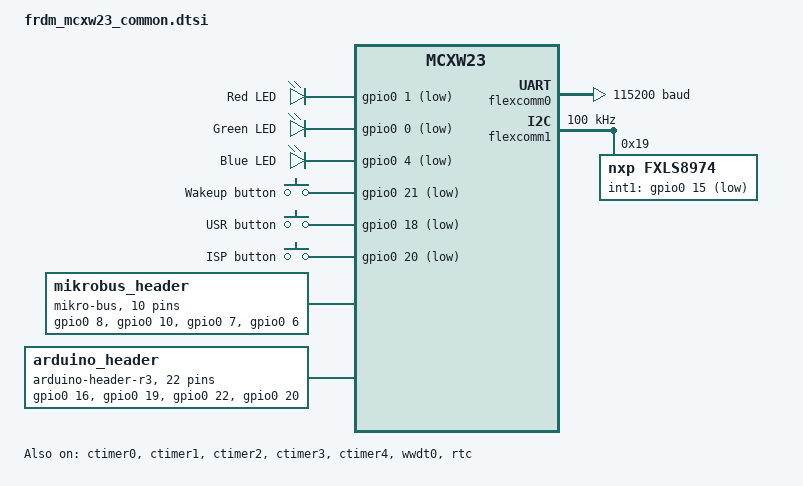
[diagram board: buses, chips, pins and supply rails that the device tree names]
/*
 * Copyright 2025 NXP
 *
 * SPDX-License-Identifier: Apache-2.0
 */

#include "frdm_mcxw23-pinctrl.dtsi"
#include <zephyr/dt-bindings/gpio/arduino-header-r3.h>
#include <zephyr/dt-bindings/input/input-event-codes.h>

/ {
	chosen {
		zephyr,sram = &sram0;
		zephyr,flash = &flash0;
		zephyr,code-partition = &slot0_partition;
		zephyr,uart-mcumgr = &flexcomm0;
		zephyr,console = &flexcomm0;
		zephyr,shell-uart = &flexcomm0;
		zephyr,flash-controller = &iap;
	};

	aliases{
		led0 = &red_led;
		led1 = &green_led;
		led2 = &blue_led;
		sw0 = &btn_wk;
		sw1 = &btn_usr;
		sw2 = &btn_isp;
		usart-0 = &flexcomm0;
		magn0 = &fxls8974;
		accel0 = &fxls8974;
		mcuboot-button0 = &btn_wk;
		watchdog0 = &wwdt0;
	};

	leds {
		compatible = "gpio-leds";

		red_led: led_0 {
			gpios = <&gpio0 1 1>;
			label = "Red LED";
		};

		green_led: led_1 {
			gpios = <&gpio0 0 1>;
			label = "Green LED";
		};

		blue_led: led_2 {
			gpios = <&gpio0 4 1>;
			label = "Blue LED";
		};
	};

	gpio_keys {
		compatible = "gpio-keys";

		btn_wk: button_0 {
			label = "Wakeup button";
			gpios = <&gpio0 21 GPIO_ACTIVE_LOW>;
			zephyr,code = <INPUT_KEY_WAKEUP>;
		};

		btn_usr: button_1 {
			label = "USR button";
			gpios = <&gpio0 18 GPIO_ACTIVE_LOW>;
			zephyr,code = <INPUT_KEY_0>;
		};

		btn_isp: button_2 {
			label = "ISP button";
			gpios = <&gpio0 20 GPIO_ACTIVE_LOW>;
			zephyr,code = <INPUT_KEY_1>;
		};
	};

	mikrobus_header: mikrobus-connector {
		compatible = "mikro-bus";
		#gpio-cells = <2>;
		gpio-map-mask = <0xffffffff 0xffffffc0>;
		gpio-map-pass-thru = <0 0x3f>;
		gpio-map = /* Not a GPIO*/	/* AN  */
				/* Not a GPIO*/		/* RST */
				<2 0 &gpio0 8 0>,	/* CS   */
				<3 0 &gpio0 10 0>,	/* SCK  */
				<4 0 &gpio0 7 0>,	/* MISO */
				<5 0 &gpio0 6 0>,	/* MOSI */
				<6 0 &gpio0 15 0>,	/* PWM  */
				<7 0 &gpio0 16 0>,	/* INT  */
				<8 0 &gpio0 3 0>,	/* RX   */
				<9 0 &gpio0 2 0>,	/* TX   */
				<10 0 &gpio0 14 0>,	/* SCL  */
				<11 0 &gpio0 13 0>;	/* SDA  */
	};

	arduino_header: arduino-connector {
		compatible = "arduino-header-r3";
		#gpio-cells = <2>;
		gpio-map-mask = <0xffffffff 0xffffffc0>;
		gpio-map-pass-thru = <0 0x3f>;
		gpio-map = <ARDUINO_HEADER_R3_A0 0 &gpio0 16 0>,
				<ARDUINO_HEADER_R3_A1 0 &gpio0 19 0>,
				<ARDUINO_HEADER_R3_A2 0 &gpio0 22 0>,
				<ARDUINO_HEADER_R3_A3 0 &gpio0 20 0>,
				<ARDUINO_HEADER_R3_A4 0 &gpio0 13 0>,
				<ARDUINO_HEADER_R3_A5 0 &gpio0 14 0>,
				<ARDUINO_HEADER_R3_D0 0 &gpio0 2 0>,
				<ARDUINO_HEADER_R3_D1 0 &gpio0 3 0>,
				<ARDUINO_HEADER_R3_D2 0 &gpio0 21 0>,
				<ARDUINO_HEADER_R3_D3 0 &gpio0 18 0>,
				<ARDUINO_HEADER_R3_D4 0 &gpio0 0 0>,
				<ARDUINO_HEADER_R3_D5 0 &gpio0 9 0>,
				<ARDUINO_HEADER_R3_D6 0 &gpio0 4 0>,
				<ARDUINO_HEADER_R3_D7 0 &gpio0 1 0>,
				<ARDUINO_HEADER_R3_D8 0 &gpio0 0 0>,	/* D8 is not connected */
				<ARDUINO_HEADER_R3_D9 0 &gpio0 15 0>,
				<ARDUINO_HEADER_R3_D10 0 &gpio0 8 0>,
				<ARDUINO_HEADER_R3_D11 0 &gpio0 6 0>,
				<ARDUINO_HEADER_R3_D12 0 &gpio0 7 0>,
				<ARDUINO_HEADER_R3_D13 0 &gpio0 10 0>,
				<ARDUINO_HEADER_R3_D14 0 &gpio0 13 0>,
				<ARDUINO_HEADER_R3_D15 0 &gpio0 14 0>;
	};
};

&flexcomm0 {
	status = "okay";
	compatible = "nxp,lpc-usart";
	current-speed = <115200>;
	pinctrl-0 = <&pinmux_flexcomm0_usart>;
	pinctrl-names = "default";
};

&flexcomm1 {
	status = "okay";
	compatible = "nxp,lpc-i2c";
	clock-frequency = <I2C_BITRATE_STANDARD>;
	#address-cells = <1>;
	#size-cells = <0>;
	pinctrl-0 = <&pinmux_flexcomm1_i2c>;
	pinctrl-names = "default";

	fxls8974: fxls8974@19 {
		compatible = "nxp,fxls8974";
		reg = <0x19>;
		status = "okay";
		int1-gpios = <&gpio0 15 GPIO_ACTIVE_LOW>;
	};
};

&ctimer0 {
	status = "okay";
};

&ctimer1 {
	status = "okay";
};

&ctimer2 {
	status = "okay";
};

&ctimer3 {
	status = "okay";
};

&ctimer4 {
	status = "okay";
};

&wwdt0 {
	status = "okay";
};

&rtc {
	status = "okay";
};

&flash0 {
	partitions {
		compatible = "fixed-partitions";
		#address-cells = <1>;
		#size-cells = <1>;

		boot_partition: partition@0 {
			label = "mcuboot";
			reg = <0x0 DT_SIZE_K(80)>;
		};

		slot0_partition: partition@14000 {
			label = "image-0";
			reg = <0x00014000 DT_SIZE_K(440)>;
		};

		slot1_partition: partition@82000 {
			label = "image-1";
			reg = <0x0082000 DT_SIZE_K(440)>;
		};

		storage_partition: partition@f0000 {
			label = "storage";
			reg = <0x000f0000 DT_SIZE_K(56)>;
		};
	};
};

arduino_i2c: &flexcomm1 {};

arduino_spi: &flexcomm2 {};

mikrobus_i2c: &flexcomm1 {};

mikrobus_spi: &flexcomm2 {};
